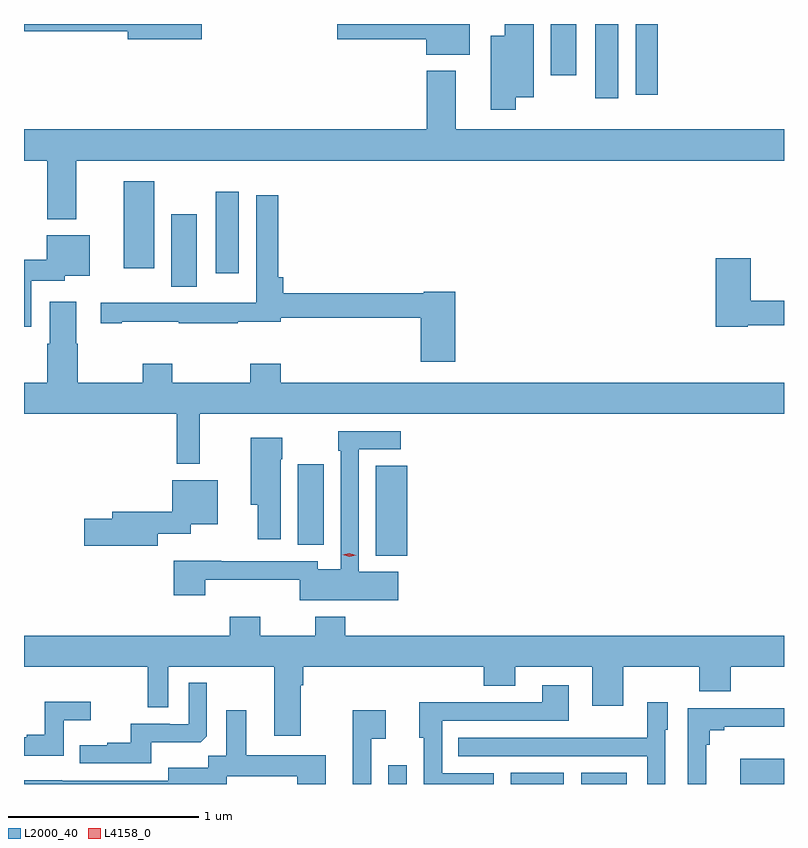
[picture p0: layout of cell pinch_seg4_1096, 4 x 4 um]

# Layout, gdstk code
import gdstk
lib = gdstk.Library(unit=1e-6, precision=1e-09)
def R(c, l, rs):  # rectangles x0, y0, x1, y1
    for r in rs: c.add(gdstk.rectangle(r[:2], r[2:], *l))
def P(c, l, *ps):  # polygons
    for p in ps: c.add(gdstk.Polygon(p, *l))
L2000_40 = (2000, 40)
L4158_0 = (4158, 0)

pinch_seg4_1096 = lib.new_cell('pinch_seg4_1096')
R(pinch_seg4_1096, L2000_40, [(395.376,794.871,395.472,794.971), (396.02,794.871,396.298,794.929), (396.392,794.871,396.631,794.929), (397.229,794.871,397.458,795.004), (395.309,796.073,395.476,796.547), (394.898,796.129,395.035,796.555), (394.232,797.488,394.366,797.869), (394.466,797.559,394.588,797.989), (393.983,797.586,394.144,798.043), (396.464,798.48,396.586,798.871), (396.678,798.498,396.794,798.871), (396.23,798.6,396.364,798.871)])
P(pinch_seg4_1096, L2000_40, [(396.045,798.485),(396.142,798.485),(396.142,798.871),(395.987,798.871),(395.987,798.808),(395.915,798.808),(395.915,798.42),(396.045,798.42)],
  [(394.393,798.871),(393.458,798.871),(393.458,798.832),(394.004,798.832),(394.004,798.79),(394.393,798.79)],
  [(395.803,798.871),(395.106,798.871),(395.106,798.79),(395.576,798.79),(395.576,798.71),(395.803,798.71)],
  [(393.733,798.152),(397.458,798.152),(397.458,798.316),(395.731,798.316),(395.731,798.625),(395.579,798.625),(395.579,798.316),(393.458,798.316),(393.458,798.152),(393.581,798.152),(393.581,797.843),(393.733,797.843)],
  [(395.729,797.461),(395.562,797.461),(395.562,797.453),(394.823,797.453),(394.823,797.539),(394.796,797.539),(394.796,797.971),(394.68,797.971),(394.68,797.404),(394.47,797.404),(394.47,797.403),(394.136,797.403),(394.136,797.405),(393.861,797.405),(393.861,797.295),(393.973,797.295),(393.973,797.305),(394.273,797.305),(394.273,797.295),(394.583,797.295),(394.583,797.305),(394.81,797.305),(394.81,797.325),(395.546,797.325),(395.546,797.094),(395.729,797.094)],
  [(393.496,797.519),(393.672,797.519),(393.672,797.546),(393.805,797.546),(393.805,797.758),(393.578,797.758),(393.578,797.629),(393.458,797.629),(393.458,797.277),(393.496,797.277)],
  [(397.266,797.286),(397.458,797.286),(397.458,797.414),(397.283,797.414),(397.283,797.638),(397.1,797.638),(397.1,797.278),(397.266,797.278)],
  [(394.382,796.82),(397.458,796.82),(397.458,796.984),(394.808,796.984),(394.808,797.083),(394.648,797.083),(394.648,796.984),(394.239,796.984),(394.239,797.083),(394.084,797.083),(394.084,796.984),(393.741,796.984),(393.741,797.189),(393.733,797.189),(393.733,797.41),(393.593,797.41),(393.593,797.189),(393.581,797.189),(393.581,796.984),(393.458,796.984),(393.458,796.82),(394.261,796.82),(394.261,796.557),(394.382,796.557)],
  [(395.428,795.988),(395.22,795.988),(395.22,796.632),(395.44,796.632),(395.44,796.728),(395.112,796.728),(395.112,796.625),(395.124,796.625),(395.124,796),(395.004,796),(395.004,796.044),(394.495,796.044),(394.495,796.046),(394.247,796.046),(394.247,795.864),(394.412,795.864),(394.412,795.947),(394.908,795.947),(394.908,795.839),(395.428,795.839)],
  [(394.81,796.58),(394.818,796.58),(394.818,796.693),(394.652,796.693),(394.652,796.34),(394.688,796.34),(394.688,796.158),(394.81,796.158)],
  [(394.162,796.187),(394.335,796.187),(394.335,796.238),(394.477,796.238),(394.477,796.471),(394.239,796.471),(394.239,796.304),(393.923,796.304),(393.923,796.268),(393.774,796.268),(393.774,796.126),(394.162,796.126)],
  [(394.915,795.392),(394.928,795.392),(394.928,795.488),(395.879,795.488),(395.879,795.389),(396.043,795.389),(396.043,795.488),(396.449,795.488),(396.449,795.282),(396.613,795.282),(396.613,795.488),(397.013,795.488),(397.013,795.36),(397.177,795.36),(397.177,795.488),(397.458,795.488),(397.458,795.652),(395.15,795.652),(395.15,795.751),(394.99,795.751),(394.99,795.652),(394.701,795.652),(394.701,795.751),(394.541,795.751),(394.541,795.652),(393.458,795.652),(393.458,795.488),(394.11,795.488),(394.11,795.274),(394.218,795.274),(394.218,795.488),(394.775,795.488),(394.775,795.126),(394.915,795.126)],
  [(394.129,795.092),(394.387,795.092),(394.419,795.123),(394.419,795.403),(394.326,795.403),(394.326,795.186),(394.226,795.186),(394.226,795.189),(394.019,795.189),(394.019,795.088),(393.895,795.088),(393.895,795.076),(393.751,795.076),(393.751,794.979),(394.129,794.979)],
  [(395.931,794.928),(395.658,794.928),(395.658,795.204),(396.325,795.204),(396.325,795.391),(396.185,795.391),(396.185,795.3),(395.755,795.3),(395.755,795.302),(395.537,795.302),(395.537,795.114),(395.562,795.114),(395.562,794.871),(395.931,794.871)],
  [(393.666,795.206),(393.808,795.206),(393.808,795.305),(393.568,795.305),(393.568,795.13),(393.473,795.13),(393.473,795.117),(393.458,795.117),(393.458,795.021),(393.666,795.021)],
  [(396.834,795.156),(396.847,795.156),(396.847,795.301),(396.738,795.301),(396.738,795.115),(396.421,795.115),(396.421,795.114),(395.743,795.114),(395.743,795.018),(396.738,795.018),(396.738,794.871),(396.834,794.871)],
  [(397.049,795.077),(397.067,795.077),(397.067,795.154),(397.144,795.154),(397.144,795.173),(397.458,795.173),(397.458,795.27),(396.951,795.27),(396.951,794.871),(397.049,794.871)],
  [(394.524,794.912),(394.895,794.912),(394.895,794.871),(395.047,794.871),(395.047,795.022),(394.627,795.022),(394.627,795.259),(394.523,795.259),(394.523,795.02),(394.428,795.02),(394.428,794.956),(394.217,794.956),(394.217,794.889),(393.659,794.889),(393.659,794.89),(393.458,794.89),(393.458,794.871),(394.524,794.871)],
  [(395.286,795.11),(395.362,795.11),(395.362,795.259),(395.189,795.259),(395.189,794.871),(395.286,794.871)])
P(pinch_seg4_1096, L4158_0, [(395.171,796.067),(395.136,796.077),(395.136,796.077),(395.136,796.077),(395.171,796.086),(395.206,796.076),(395.206,796.076),(395.206,796.076)])

lib.write_gds('pinch_seg4_1096.gds')
